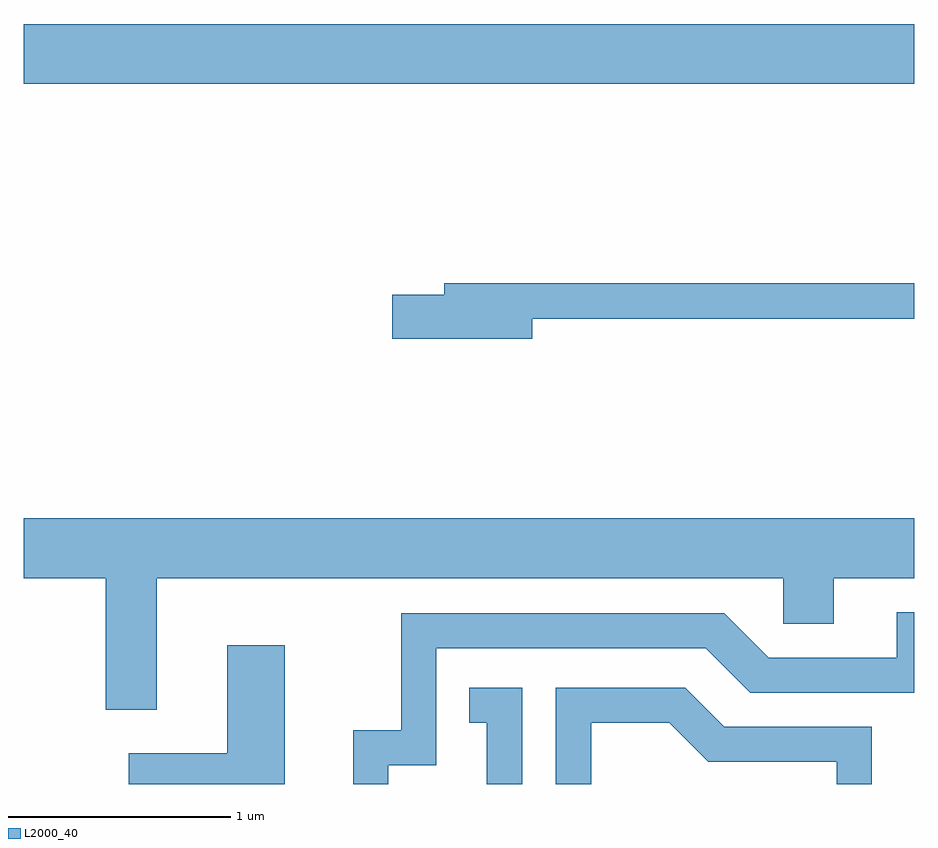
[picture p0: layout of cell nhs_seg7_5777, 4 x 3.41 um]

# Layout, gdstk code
import gdstk
lib = gdstk.Library(unit=1e-6, precision=1e-09)
def R(c, l, rs):  # rectangles x0, y0, x1, y1
    for r in rs: c.add(gdstk.rectangle(r[:2], r[2:], *l))
def P(c, l, *ps):  # polygons
    for p in ps: c.add(gdstk.Polygon(p, *l))
L2000_40 = (2000, 40)

nhs_seg7_5777 = lib.new_cell('nhs_seg7_5777')
R(nhs_seg7_5777, L2000_40, [(361.611,1745.396,365.611,1745.664)])
P(nhs_seg7_5777, L2000_40, [(363.894,1744.341),(365.611,1744.341),(365.611,1744.499),(363.501,1744.499),(363.501,1744.449),(363.266,1744.449),(363.266,1744.251),(363.894,1744.251)],
  [(362.209,1743.176),(365.021,1743.176),(365.021,1742.971),(365.249,1742.971),(365.249,1743.176),(365.611,1743.176),(365.611,1743.444),(361.611,1743.444),(361.611,1743.176),(361.981,1743.176),(361.981,1742.586),(362.209,1742.586)],
  [(363.249,1742.336),(363.464,1742.336),(363.464,1742.861),(364.674,1742.861),(364.874,1742.661),(365.611,1742.661),(365.611,1743.024),(365.531,1743.024),(365.531,1742.819),(364.957,1742.819),(364.757,1743.019),(363.306,1743.019),(363.306,1742.494),(363.091,1742.494),(363.091,1742.252),(363.249,1742.252)],
  [(362.784,1742.874),(362.526,1742.874),(362.526,1742.389),(362.083,1742.389),(362.083,1742.252),(362.784,1742.252)],
  [(364.159,1742.526),(364.509,1742.526),(364.684,1742.351),(365.261,1742.351),(365.261,1742.252),(365.419,1742.252),(365.419,1742.509),(364.757,1742.509),(364.582,1742.684),(364.001,1742.684),(364.001,1742.252),(364.159,1742.252)],
  [(363.849,1742.684),(363.613,1742.684),(363.613,1742.526),(363.691,1742.526),(363.691,1742.252),(363.849,1742.252)])

lib.write_gds('nhs_seg7_5777.gds')
